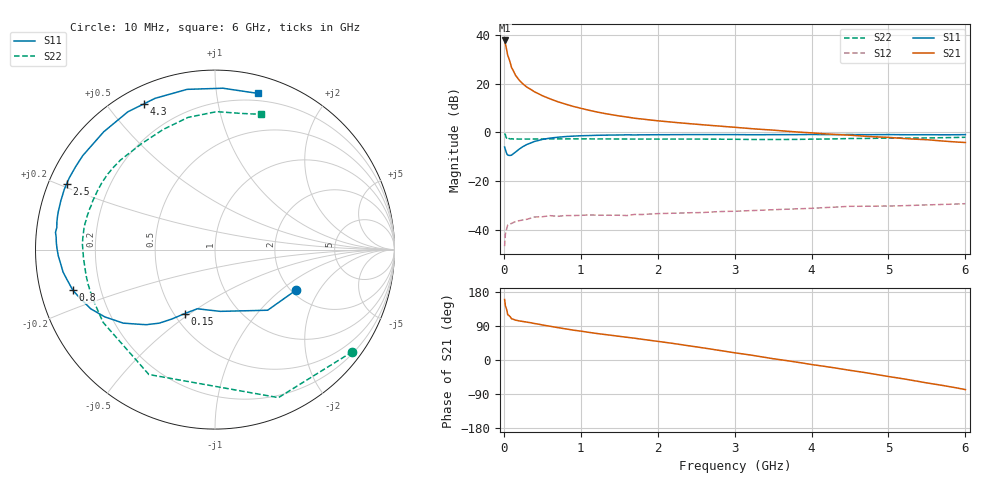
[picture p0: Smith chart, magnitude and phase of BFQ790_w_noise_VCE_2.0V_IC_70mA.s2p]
! Infineon Technologies  Discrete & RF Semiconductors
! BFQ790
! VCE =  2.0 V,  IC =  70 mA
! Common Emitter S-Parameters:  May 2015
# GHz  S  MA  R  50
!  f  S11  S21  S12  S22
! GHz  MAG  ANG  MAG  ANG  MAG  ANG  MAG  ANG
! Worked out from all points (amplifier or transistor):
!   77 points, 10 MHz to 6 GHz, reference 50 ohm
!   highest |S21| = 37.7 dB at 10 MHz (marker M1)
!   |S21| within 3 dB of that: start of sweep to 31.21 MHz
!   unconditionally stable (mu >= 1): 1.405 GHz to end of sweep
!   at 130 MHz: K = 0.68, MSG = 30.8 dB, |S12| = -36.8 dB
!   at 2.2 GHz: K = 1.17, MAG = 16.1 dB, |S12| = -33.1 dB
!   at 6 GHz: K = 1.42, MAG = 8.7 dB, |S12| = -29.2 dB
!   lowest NFmin = 2.39 dB at 1.5 GHz
!   S11 on the Smith chart (normalised r, x): 10 MHz: 2.10, -1.28; 150 MHz: 0.56, -0.48; 800 MHz: 0.10, -0.14; 2.5 GHz: 0.05, +0.21; 4.3 GHz: 0.07, +0.62; 6 GHz: 0.14, +1.31
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0.01  0.5032 -26.9  76.44 159.6  0.0047 65.7  0.9541 -36.6
0.02  0.4475 -49.0  65.15 143.2  0.0083 51.8  0.8973 -66.8
0.05  0.3453 -85.2  38.11 119.7  0.0127 30.5  0.7875 -117.9
0.1  0.344 -106.6  21.29 108.7  0.0138 20.1  0.7437 -147.0
0.15  0.3949 -115.4  14.95 105.3  0.0149 18.5  0.7348 -158.6
0.2  0.4557 -121.9  11.76 103.2  0.0156 19.5  0.733 -164.9
0.25  0.5146 -127.2  9.811 101.6  0.0162 17.4  0.7326 -168.9
0.3  0.5676 -132.5  8.461 99.9  0.0167 13.7  0.7316 -171.9
0.4  0.6553 -141.3  6.774 96.2  0.0186 13.4  0.7344 -176.4
0.5  0.7187 -148.5  5.657 92.6  0.0188 9.5  0.7358 -179.7
0.6  0.7667 -154.5  4.877 89.1  0.0198 8.5  0.7392 177.8
0.7  0.7972 -159.8  4.262 85.5  0.0192 6.7  0.7393 175.5
0.8  0.824 -164.1  3.809 82.2  0.0199 4.7  0.739 173.7
1.1  0.8639 -174.9  2.863 73.1  0.0205 0.9  0.7386 168.7
1.5  0.8876 175.6  2.178 62.5  0.0202 0.1  0.7338 163.2
2.1  0.8991 164.4  1.675 46.5  0.022 -3.0  0.7318 154.7
2.5  0.904 156.0  1.474 34.7  0.0228 -6.8  0.7312 147.4
3.1  0.9009 142.4  1.238 16.2  0.0247 -13.8  0.7215 134.2
4.1  0.9055 120.2  0.955 -14.8  0.0285 -24.6  0.731 110.9
4.3  0.9035 115.9  0.912 -20.8  0.0296 -27.7  0.7389 106.1
5.1  0.9015 97.4  0.772 -46.7  0.0314 -41.0  0.7674 87.2
6  0.9027 74.5  0.623 -78.1  0.0348 -58.6  0.796 71.3
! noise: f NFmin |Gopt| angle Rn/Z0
0.45  3.41  0.35  124  0.37
0.9  2.51  0.5  160  0.14
1.5  2.39  0.64  -177  0.07
1.8  2.55  0.66  -171  0.08
2.6  3.1  0.72  -154  0.18
3.5  3.83  0.82  -137  0.48
